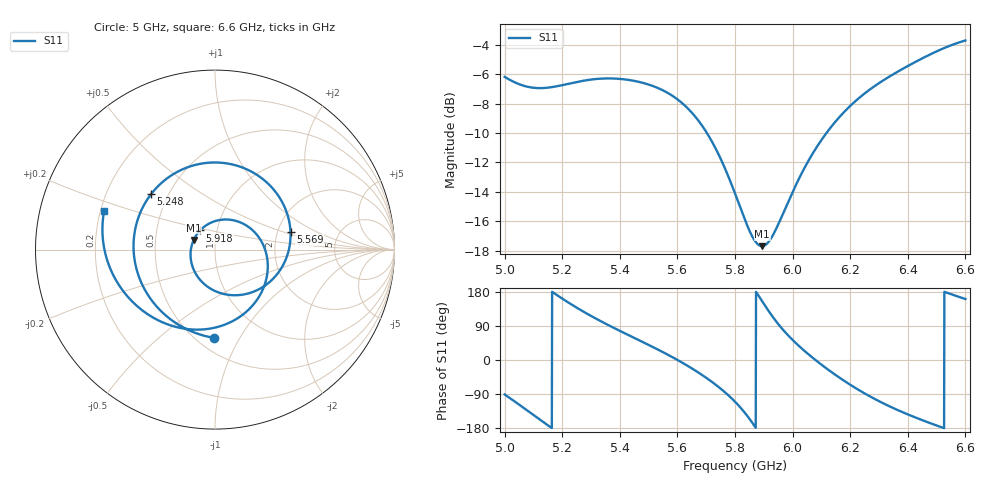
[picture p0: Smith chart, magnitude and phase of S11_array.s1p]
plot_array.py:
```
"""
Plots for the 1x2 array after sim_array.py. Works on whatever is in ./results_array
(also partial runs). Writes PNGs + one printable A4 PDF report.

  python plot_array.py            # -> results_array/array_report_A4.pdf + PNGs
  python plot_array.py --show     # also open the figures on screen
"""
import argparse
import csv
import glob
import json
import os

import numpy as np
import matplotlib

import array_design as ad

OUT = os.path.join(ad.HERE, "results_array")
A4 = (8.27, 11.69)


def read_s1p(path):
    scale_map = {"HZ": 1, "KHZ": 1e3, "MHZ": 1e6, "GHZ": 1e9}
    scale, fmt, f, s = 1e9, "MA", [], []
    for line in open(path):
        line = line.split("!")[0].strip()
        if not line or line.startswith("["):
            continue
        if line.startswith("#"):
            for tok in line[1:].upper().split():
                scale = scale_map.get(tok, scale)
                fmt = tok if tok in ("MA", "DB", "RI") else fmt
            continue
        v = [float(x) for x in line.split()]
        if len(v) >= 3:
            f.append(v[0] * scale)
            a, b = v[1], v[2]
            s.append(complex(a, b) if fmt == "RI" else
                     (a if fmt == "MA" else 10 ** (a / 20)) * np.exp(1j * np.radians(b)))
    return np.array(f), np.array(s)


def s_metrics(f, s):
    db = 20 * np.log10(np.abs(s))
    i = int(np.argmin(db))
    lo = hi = i
    while lo > 0 and db[lo - 1] < -10:
        lo -= 1
    while hi < len(db) - 1 and db[hi + 1] < -10:
        hi += 1
    return db, i, ((f[hi] - f[lo]) if db[i] < -10 else 0.0)


def read_gain(path):
    rows = list(csv.reader(open(path, newline="")))
    hdr = rows[0]
    ip = next(k for k, x in enumerate(hdr) if "phi" in x.lower())
    it = next(k for k, x in enumerate(hdr) if "theta" in x.lower())
    lo = [x.lower() for x in hdr]
    ig = next(k for k, x in enumerate(lo) if "gain" in x and "realized" not in x)
    ir = next(k for k, x in enumerate(lo) if "realized" in x)
    return np.array([[float(r[ip]), float(r[it]), float(r[ig]), float(r[ir])] for r in rows[1:] if r])


def smith_grid(ax):
    t = np.linspace(0, 2 * np.pi, 400)
    ax.plot(np.cos(t), np.sin(t), "k", lw=0.8)
    for r in (0.2, 0.5, 1, 2, 5):
        c, rad = r / (1 + r), 1 / (1 + r)
        ax.plot(c + rad * np.cos(t), rad * np.sin(t), color="0.75", lw=0.5)
    for x in (0.2, 0.5, 1, 2, 5):
        for sgn in (1, -1):
            z = 1j * sgn * x + np.linspace(0, 50, 2000)
            g = (z - 1) / (z + 1)
            ax.plot(g.real, g.imag, color="0.75", lw=0.5)
    ax.plot([-1, 1], [0, 0], color="0.75", lw=0.5)
    ax.set_aspect("equal")
    ax.set_xlim(-1.05, 1.05)
    ax.set_ylim(-1.05, 1.05)
    ax.set_axis_off()


def main():
    ap = argparse.ArgumentParser()
    ap.add_argument("--show", action="store_true")
    ap.add_argument("--src", choices=["hfss", "openems"], default="hfss")
    args = ap.parse_args()
    global OUT
    if args.src == "openems":
        OUT = os.path.join(ad.HERE, "results_openems")
    if not args.show:
        matplotlib.use("Agg")
    import matplotlib.pyplot as plt
    from matplotlib.backends.backend_pdf import PdfPages

    pat = "S11_iter*.s1p" if args.src == "hfss" else "S11_patch_iter*.s1p"
    iters = sorted(glob.glob(os.path.join(OUT, pat)),
                   key=lambda p: int("".join(c for c in os.path.basename(p) if c.isdigit()) or 0))
    if args.src == "openems" and os.path.exists(os.path.join(OUT, "S11_array.s1p")):
        iters.append(os.path.join(OUT, "S11_array.s1p"))
    if not iters:
        raise SystemExit(f"no S11_iter*.s1p in {OUT} yet - run sim_array.py first")
    final = iters[-1]
    f, s = read_s1p(final)
    db, i0, bw = s_metrics(f, s)
    z = 50 * (1 + s) / (1 - s)
    i245 = int(np.argmin(abs(f - ad.F0)))
    tj = os.path.join(OUT, "tuned.json")
    tuned = json.load(open(tj)) if os.path.exists(tj) else None
    gain_csv = os.path.join(OUT, "Gain_final.csv" if args.src == "hfss" else "pattern_array.csv")
    gd = read_gain(gain_csv) if os.path.exists(gain_csv) else None

    figs = []

    # ---- page 1: S11, Zin, Smith ----
    fig = plt.figure(figsize=A4)
    gs = fig.add_gridspec(3, 2, height_ratios=[1.2, 1, 1.4], hspace=0.45, wspace=0.3)
    ax = fig.add_subplot(gs[0, :])
    for p in iters[:-1]:
        ff, ss = read_s1p(p)
        ax.plot(ff / 1e9, 20 * np.log10(abs(ss)), lw=0.7, alpha=0.6,
                label=os.path.basename(p).replace("S11_", "").replace(".s1p", ""))
    ax.plot(f / 1e9, db, "k", lw=1.8, label="final")
    ax.axhline(-10, ls="--", c="gray", lw=0.8)
    ax.axvspan(5.725, 5.875, color="g", alpha=0.12, label="WiFi 5.8 GHz (5.725-5.875)")
    ax.plot(f[i0] / 1e9, db[i0], "ro")
    ax.annotate(f"{f[i0]/1e9:.3f} GHz\n{db[i0]:.1f} dB", (f[i0] / 1e9, db[i0]), (10, 5),
                textcoords="offset points", fontsize=8)
    ax.set_xlabel("Frequency (GHz)")
    ax.set_ylabel("|S11| (dB)")
    ax.set_title("Return loss")
    ax.grid(True, alpha=0.4)
    ax.legend(fontsize=7, ncol=3)

    ax = fig.add_subplot(gs[1, :])
    ax.plot(f / 1e9, z.real, label="Re(Zin)")
    ax.plot(f / 1e9, z.imag, label="Im(Zin)")
    ax.axhline(50, ls="--", c="gray", lw=0.8)
    ax.axhline(0, c="k", lw=0.5)
    ax.set_ylim(-150, 200)
    ax.set_xlabel("Frequency (GHz)")
    ax.set_ylabel("Ohm")
    ax.set_title("Input impedance (final)")
    ax.grid(True, alpha=0.4)
    ax.legend(fontsize=8)

    ax = fig.add_subplot(gs[2, 0])
    smith_grid(ax)
    ax.plot(s.real, s.imag, "b", lw=1)
    ax.plot(s[i245].real, s[i245].imag, "ro", ms=4)
    ax.set_title("Smith chart (red = 5.8 GHz)", fontsize=9)

    ax = fig.add_subplot(gs[2, 1])
    ax.set_axis_off()
    txt = [f"f0 (S11 min)      {f[i0]/1e9:.4f} GHz",
           f"S11 min           {db[i0]:.2f} dB",
           f"-10 dB bandwidth  {bw/1e6:.1f} MHz",
           f"S11 @ 5.8 GHz     {db[i245]:.2f} dB",
           f"Zin @ 5.8 GHz     {z[i245].real:.1f} {z[i245].imag:+.1f}j ohm",
           f"iterations        {len(iters)}"]
    if tuned:
        txt += ["", f"L {tuned['L']:.2f} mm, W {tuned['W']:.2f} mm"]
        if "y0" in tuned:
            txt += [f"inset {tuned['y0']:.2f} mm, notch {tuned['notch']:.2f} mm"]
        if "w_t1" in tuned:
            txt += [f"Zt1 {tuned['Z_t1']:.1f} ohm: w {tuned['w_t1']:.2f}, l {tuned['l_t1']:.2f} mm"]
        txt += [f"Zt2 {tuned['Z_t2']:.1f} ohm: w {tuned['w_t2']:.2f}, l {tuned['l_t2']:.2f} mm"]
        if "rad_eff" in tuned:
            txt += [f"rad. efficiency {tuned['rad_eff']*100:.0f} %, Dmax {tuned['Dmax_dBi']} dBi"]
    if gd is not None:
        txt += ["", f"peak gain          {gd[:,2].max():.2f} dBi",
                f"peak realized gain {gd[:,3].max():.2f} dBi"]
    ax.text(0, 1, "\n".join(txt), va="top", family="monospace", fontsize=8)
    fig.suptitle(f"1x2 patch array 5.8 GHz, FR4 1.6 mm, 100 x 75 mm - S-parameters ({args.src})", fontsize=11)
    figs.append(("S11", fig))

    # ---- page 2: gain ----
    if gd is not None:
        fig = plt.figure(figsize=A4)
        gs = fig.add_gridspec(2, 2, hspace=0.35, wspace=0.3)
        cuts = ((0.0, "phi = 0 (XZ, array axis / H-plane)"), (90.0, "phi = 90 (YZ, E-plane)"))
        for k, (phi, title) in enumerate(cuts):
            sel = np.isclose(gd[:, 0], phi)
            th, g, gr = gd[sel, 1], gd[sel, 2], gd[sel, 3]
            o = np.argsort(th)
            th, g, gr = th[o], g[o], gr[o]
            ax = fig.add_subplot(gs[0, k], projection="polar")
            ax.plot(np.radians(th), np.maximum(g, -30), label="Gain")
            ax.plot(np.radians(th), np.maximum(gr, -30), "--", label="Realized")
            ax.set_theta_zero_location("N")
            ax.set_theta_direction(-1)
            ax.set_rlim(-30, 12)
            ax.set_title(title, fontsize=9, pad=15)
            ax.legend(fontsize=7, loc="lower right")
            ax = fig.add_subplot(gs[1, k])
            ax.plot(th, g, label="Gain")
            ax.plot(th, gr, "--", label="Realized")
            gmax = g.max()
            above = th[g >= gmax - 3]
            hpbw = above.max() - above.min() if len(above) else 0
            ax.axhline(gmax - 3, ls=":", c="gray")
            ax.set_xlim(-180, 180)
            ax.set_ylim(-30, 12)
            ax.set_xlabel("Theta (deg)")
            ax.set_ylabel("dBi")
            ax.set_title(f"{title}\nmax {gmax:.2f} dBi, HPBW ~ {hpbw:.0f} deg", fontsize=8)
            ax.grid(True, alpha=0.4)
            ax.legend(fontsize=7)
        fig.suptitle("Radiation pattern @ 5.8 GHz", fontsize=11)
        figs.append(("Gain", fig))

    pdf_path = os.path.join(OUT, "array_report_A4.pdf")
    with PdfPages(pdf_path) as pdf:
        for name, fig in figs:
            fig.savefig(os.path.join(OUT, f"plot_{name}.png"), dpi=150)
            pdf.savefig(fig)
    print("\n".join(txt))
    print(f"-> {pdf_path}")
    if args.show:
        plt.show()


if __name__ == "__main__":
    main()
```
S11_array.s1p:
! openEMS
# GHZ S MA R 50
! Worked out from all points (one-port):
!   1601 points, 5 GHz to 6.6 GHz, reference 50 ohm
!   lowest |S11| = -17.7 dB at 5.894 GHz (marker M1), VSWR 1.30, Z = 39.2 + j4.31 ohm
!   |S11| at or under -10 dB: 5.703 GHz to 6.117 GHz (414.6 MHz wide, 7.01 % of centre)
!   S11 on the Smith chart (normalised r, x): 5 GHz: 0.60, -0.78; 5.248 GHz: 0.40, +0.32; 5.569 GHz: 2.36, +0.57; 5.918 GHz: 0.83, +0.18; 6.6 GHz: 0.21, +0.16
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5  0.4915 -90.9
5.131  0.4501 -162.0
5.248  0.4715 139.2
5.38  0.485 84.4
5.534  0.4496 26.9
5.569  0.4319 13.1
5.731  0.2825 -64.1
5.894  0.1303 155.5
5.918  0.1353 127.9
6.067  0.2666 7.6
6.164  0.3599 -47.3
6.299  0.4672 -108.3
6.457  0.5726 -160.7
6.6  0.6538 161.0
